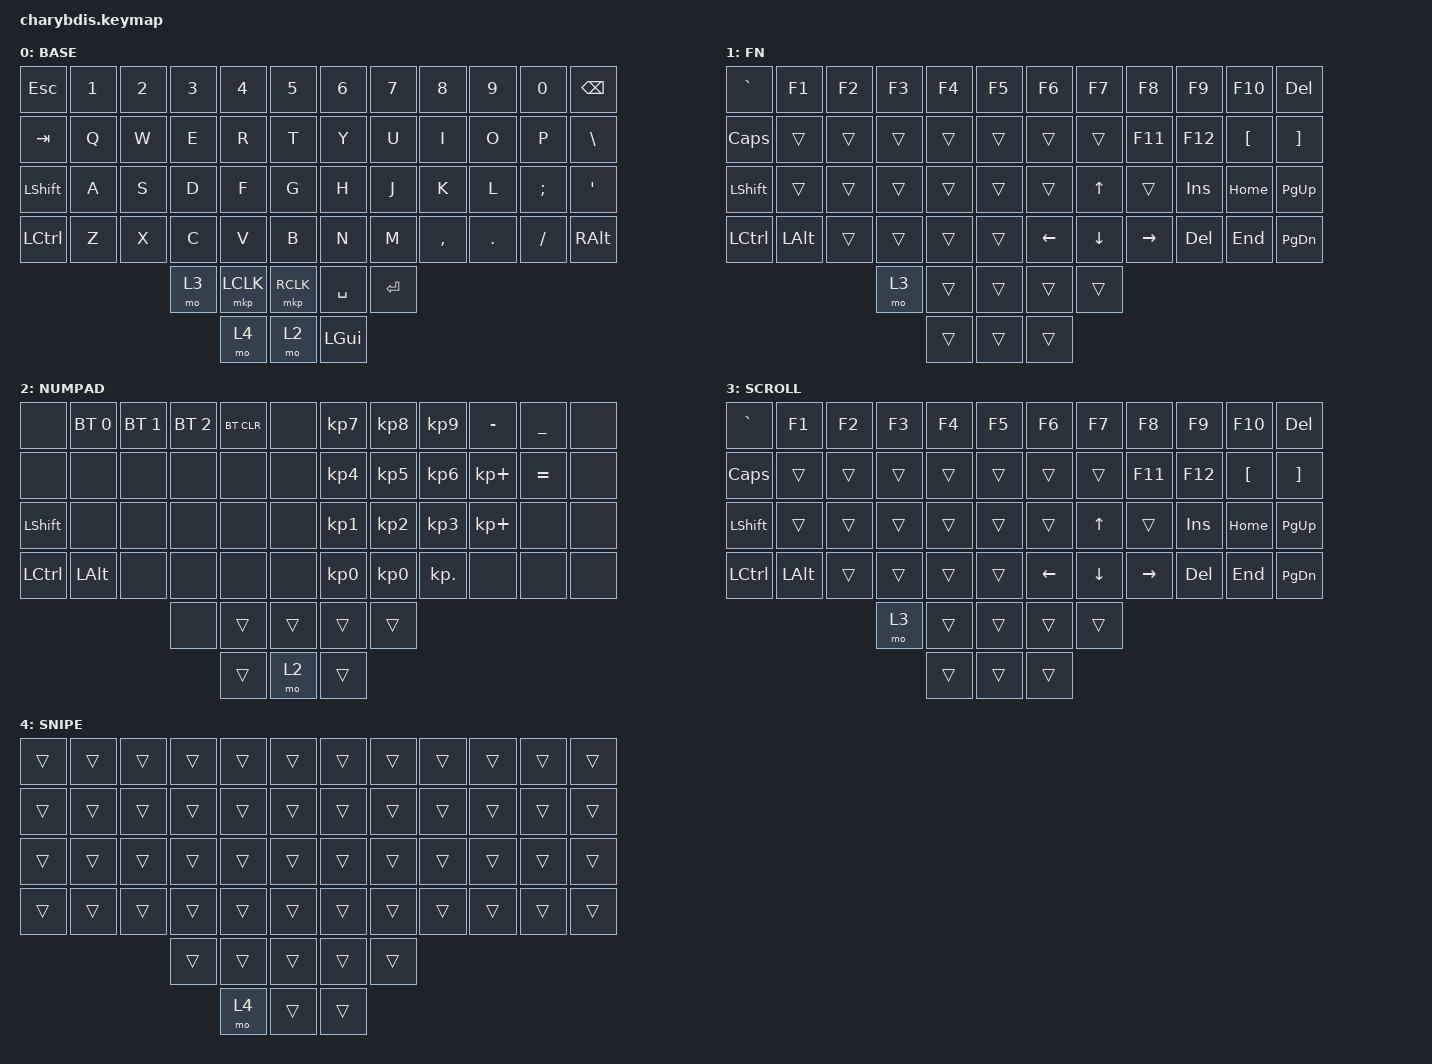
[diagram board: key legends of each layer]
#include <behaviors.dtsi>
#include <dt-bindings/zmk/bt.h>
#include <dt-bindings/zmk/keys.h>
#include <dt-bindings/zmk/pointing.h>
#include <dt-bindings/zmk/rgb.h>

&lt {
    tapping-term-ms = <200>;
    flavor = "balanced";
    quick-tap-ms = <150>;
};

/ {
    keymap {
        compatible = "zmk,keymap";

        // ===================== LAYER 0 — BASE =====================
        BASE {
            bindings = <
&kp ESC        &kp N1  &kp N2  &kp N3          &kp N4        &kp N5          &kp N6      &kp N7  &kp N8     &kp N9   &kp N0    &kp BSPC
&kp TAB        &kp Q   &kp W   &kp E           &kp R         &kp T           &kp Y       &kp U   &kp I      &kp O    &kp P     &kp BSLH
&kp LSHFT      &kp A   &kp S   &kp D           &kp F         &kp G           &kp H       &kp J   &kp K      &kp L    &kp SEMI  &kp SQT
&kp LCTRL      &kp Z   &kp X   &kp C           &kp V         &kp B           &kp N       &kp M   &kp COMMA  &kp DOT  &kp FSLH  &kp RALT
                                &mo 3           &mkp LCLK     &mkp RCLK       &kp SPACE   &kp RET
                                                &mo 4         &mo 2           &kp LGUI
            >;
        };

        // ===================== LAYER 1 — FN / NAV =====================
        FN {
            bindings = <
&kp GRAVE  &kp F1   &kp F2  &kp F3  &kp F4  &kp F5          &kp F6    &kp F7    &kp F8    &kp F9    &kp F10    &kp DEL
&kp CAPS   &trans   &trans  &trans  &trans  &trans          &trans    &trans    &kp F11   &kp F12   &kp LBKT   &kp RBKT
&kp LSHFT  &trans   &trans  &trans  &trans  &trans          &trans    &kp UP    &trans    &kp INS   &kp HOME   &kp PG_UP
&kp LCTRL  &kp LALT &trans  &trans  &trans  &trans          &kp LEFT  &kp DOWN  &kp RIGHT &kp DEL   &kp END    &kp PG_DN
                            &mo 3   &trans  &trans          &trans    &trans
                                    &trans  &trans          &trans
            >;
        };

        // ===================== LAYER 2 — NUMPAD / BT =====================
        NUMPAD {
            bindings = <
&none       &bt BT_SEL 0  &bt BT_SEL 1  &bt BT_SEL 2  &bt BT_CLR &none           &kp KP_N7  &kp KP_N8  &kp KP_N9  &kp MINUS      &kp UNDER  &none
&none       &none         &none         &none         &none      &none           &kp KP_N4  &kp KP_N5  &kp KP_N6  &kp KP_PLUS    &kp EQUAL  &none
&kp LSHFT   &none         &none         &none         &none      &none           &kp KP_N1  &kp KP_N2  &kp KP_N3  &kp KP_PLUS    &none      &none
&kp LCTRL   &kp LALT      &none         &none         &none      &none           &kp KP_N0  &kp KP_N0  &kp KP_DOT &none          &none      &none
                                        &none         &trans     &trans          &trans     &trans
                                                      &trans     &mo 2           &trans
            >;
        };

        // ===================== LAYER 3 — SCROLL =====================
        SCROLL {
            bindings = <
&kp GRAVE  &kp F1   &kp F2  &kp F3  &kp F4  &kp F5          &kp F6    &kp F7    &kp F8    &kp F9    &kp F10    &kp DEL
&kp CAPS   &trans   &trans  &trans  &trans  &trans          &trans    &trans    &kp F11   &kp F12   &kp LBKT   &kp RBKT
&kp LSHFT  &trans   &trans  &trans  &trans  &trans          &trans    &kp UP    &trans    &kp INS   &kp HOME   &kp PG_UP
&kp LCTRL  &kp LALT &trans  &trans  &trans  &trans          &kp LEFT  &kp DOWN  &kp RIGHT &kp DEL   &kp END    &kp PG_DN
                            &mo 3   &trans  &trans          &trans    &trans
                                    &trans  &trans          &trans
            >;
        };

        // ===================== LAYER 4 — SNIPE =====================
        SNIPE {
            bindings = <
&trans  &trans  &trans  &trans  &trans  &trans    &trans  &trans  &trans  &trans  &trans  &trans
&trans  &trans  &trans  &trans  &trans  &trans    &trans  &trans  &trans  &trans  &trans  &trans
&trans  &trans  &trans  &trans  &trans  &trans    &trans  &trans  &trans  &trans  &trans  &trans
&trans  &trans  &trans  &trans  &trans  &trans    &trans  &trans  &trans  &trans  &trans  &trans
                        &trans  &trans  &trans    &trans  &trans
                                &mo 4   &trans    &trans
            >;
        };
    };
};
